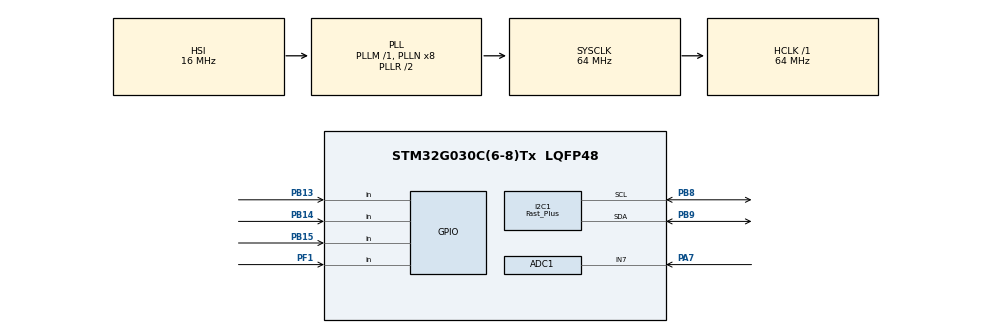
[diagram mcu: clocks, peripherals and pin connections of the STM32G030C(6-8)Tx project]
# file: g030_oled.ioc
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ADC1.Channel-1\#ChannelRegularConversion=ADC_CHANNEL_7
ADC1.NbrOfConversionFlag=1
ADC1.Rank-1\#ChannelRegularConversion=1
ADC1.SamplingTime-1\#ChannelRegularConversion=ADC_SAMPLINGTIME_COMMON_1
ADC1.SamplingTimeCommon1=ADC_SAMPLETIME_39CYCLES_5
ADC1.SelectedChannel=ADC_CHANNEL_7
ADC1.master=1
I2C1.I2C_Speed_Mode=I2C_Fast_Plus
I2C1.Timing=0x00300B29
Mcu.Family=STM32G0
Mcu.Name=STM32G030C(6-8)Tx
Mcu.Package=LQFP48
PA7.Mode=IN7
PA7.Signal=ADC1_IN7
PB13.Signal=GPIO_Input
PB14.Signal=GPIO_Input
PB15.Signal=GPIO_Input
PB8.Mode=I2C
PB8.Signal=I2C1_SCL
PB9.Mode=I2C
PB9.Signal=I2C1_SDA
PF1-OSC_OUT\ (PF1).Signal=GPIO_Input
ProjectManager.HeapSize=0x200
ProjectManager.StackSize=0x400
ProjectManager.TargetToolchain=STM32CubeIDE
RCC.ADCFreq_Value=64000000
RCC.AHBFreq_Value=64000000
RCC.CortexFreq_Value=64000000
RCC.EXTERNAL_CLOCK_VALUE=12288000
RCC.HCLKFreq_Value=64000000
RCC.HSE_VALUE=8000000
RCC.HSI_VALUE=16000000
RCC.LSE_VALUE=32768
RCC.SYSCLKFreq_VALUE=64000000
RCC.SYSCLKSource=RCC_SYSCLKSOURCE_PLLCLK
RCC.VCOOutputFreq_Value=128000000
board=custom

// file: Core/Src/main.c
/* USER CODE BEGIN Header */
/**
  ******************************************************************************
  * @file           : main.c
  * @brief          : Main program body
  ******************************************************************************
  * @attention
  *
  * <h2><center>&copy; Copyright (c) 2023 STMicroelectronics.
  * All rights reserved.</center></h2>
  *
  * This software component is licensed by ST under BSD 3-Clause license,
  * the "License"; You may not use this file except in compliance with the
  * License. You may obtain a copy of the License at:
  *                        opensource.org/licenses/BSD-3-Clause
  *
  ******************************************************************************
  */
/* USER CODE END Header */
#include "main.h"

/* USER CODE BEGIN Includes */
#include <stdbool.h>
#include "math.h"
#include "base.h"
#include "menulist.h"
#include "iconlist.h"
#include "textedit.h"
#include "adcchart.h"
#include "u8g2.h"
#include "u8g2_port.h"

#define CONFIG_PADDING_X 4

/* USER CODE END Includes */

ADC_HandleTypeDef hadc1;

I2C_HandleTypeDef hi2c1;

void SystemClock_Config(void);
static void MX_GPIO_Init(void);
static void MX_I2C1_Init(void);
static void MX_ADC1_Init(void);

/* USER CODE BEGIN 0 */
typedef enum {
    PAGE_ID_NONE = -1,
    //
    PAGE_ID_FIRST = 0,

    PAGE_ID_MAIN_MENULIST = PAGE_ID_FIRST,
    PAGE_ID_PID_MENULIST,
    PAGE_ID_DEVS_MENULIST,
    PAGE_ID_ICON_ICONLIST,

    PAGE_ID_LOGO,
    PAGE_ID_ADC_CHART,
    PAGE_ID_TEXTEDIT,
    PAGE_ID_ABOUT,
    PAGE_ID_EASING_CHART,

    PAGE_ID_LAST,
    //
    FUNC_ID_RETURN = PAGE_ID_LAST + 1,
    FUNC_ID_ANIMATION1,
    FUNC_ID_ANIMATION2,
    FUNC_ID_ANIMATION3,
    FUNC_ID_ANIMATION4,
} page_id_t;

page_t*   pages[PAGE_ID_LAST] = {0};
page_id_t page_selected;  // index of rendering

// 注册
#define PAGE_REGISTER(ID, page) pages[ID] = (page_t*)&page
// 切换
#define PAGE_SWITCH(ID)                 \
    if (pages[page_selected = ID] != 0) \
    pages[page_selected = ID]->bRepaint = true
// 渲染
#define PAGE_RENDER()                                            \
    pages[page_selected]->lpfnHandler(pages[page_selected]);     \
    if (pages[page_selected]->bRepaint) {                        \
        println("repaint");                                      \
        pages[page_selected]->bRepaint = 0;                      \
        pages[page_selected]->lpfnPainter(pages[page_selected]); \
    }

///

void _painter_logo(page_t* p)
{
    _clear();
    _set_color(0);
    _draw_str(CONFIG_PADDING_X, 12, "Hello World");
    _set_color(1);
    _draw_str(CONFIG_PADDING_X, 24, "Hello World");
    _set_color(2);
    _draw_str(CONFIG_PADDING_X, 36, "Hello World");
    _update();
}

void _handler_logo(page_t* p)
{
    switch (key_scan()) {
        case KEY_ID_NONE:
            break;
        default:
            effect_disappear();
            PAGE_SWITCH(PAGE_ID_MAIN_MENULIST);
            break;
    }
}
void _handler_chart(adc_chart_t* p)
{
    println("cus");

    switch (key_scan()) {
        case KEY_ID_NONE:
            break;
        default:
            adcchart_repaint_border(p);
            effect_disappear();
            PAGE_SWITCH(PAGE_ID_MAIN_MENULIST);
            break;
    }
}

void _handler_textedit(texteditor_t* p)
{
    switch (key_scan()) {
        case KEY_ID_NONE: break;
        case KEY_ID_PREV: {
            texteditor_callback_handle_set_prevchar(p);
            break;
        }
        case KEY_ID_NEXT: {
            texteditor_callback_handle_set_nextchar(p);
            break;
        }
        case KEY_ID_OK: {
            if (!texteditor_callback_handle_switch_editmode(p)) {
                effect_disappear();
                PAGE_SWITCH(PAGE_ID_MAIN_MENULIST);
            }
            break;
        }
    }
}

void _painter_about(page_t* p)
{
    _clear();
    _set_color(1);
    _draw_str(2, 12, "MCU : STM32");
    _draw_str(2, 28, "FLASH : 512KB");
    _draw_str(2, 44, "SRAM : 256KB");
    _draw_str(2, 60, "RTC SRAM : 16KB");
    _update();
}

void _handler_about(page_t* p)
{
    switch (key_scan()) {
        case KEY_ID_NONE:
            break;
        default:
            effect_disappear();
            PAGE_SWITCH(PAGE_ID_MAIN_MENULIST);
            break;
    }
}

#define _PI2 1.57
#define _PI  3.14
#define _2PI 6.28

void effect_win10_loading()
{
    uint8_t r   = 16;
    uint8_t cnt = 6;  // number of points

    easing_t e = easing_create(EASING_MODE_NTIMES(2) | EASING_DIR_FORWARD, _easing_calc_Linear, 0, 15, 30);

    easing_start_absolute(&e, 0, 1);  // generate linear time order

    while (!easing_isok(&e)) {
        easing_update(&e);
        _clear();
        for (uint8_t i = 0; i < cnt; ++i) {
            float t = e.nCurrent - i * 0.05;
            if (t < 0) t += 1;
            float rad = -_easing_calc_InOutCubic(t) * _2PI + _PI;  // angle (rad, 3.14rad -> 180°)
            _draw_circle_full_at_screen_center(r * sin(rad), r * cos(rad), 1);
        }
        _update();
    }
}

void effect_rotating_rect()
{
    easing_t e = easing_create(EASING_MODE_NTIMES(2) | EASING_DIR_BACKANDFORTH, _easing_calc_OutQuart, 0, 15, 50);

    easing_start_absolute(&e, 0, 1);  // generate linear time order

    float w, h;

    while (!easing_isok(&e)) {
        easing_update(&e);
        _clear();
        w = h = easing_curpos(&e) * 10,
#if 0
        _set_color(1);
        _draw_rotated_rect(64, 32, w, h, easing_curpos(&e) * _PI2);
        _set_color(2);
        _draw_rotated_rect(64, 32, w, h, (easing_curpos(&e) + 0.5) * _PI2);
#else
        _draw_rotated_rect(64, 32, w, h, easing_curpos(&e) * _PI2);
        _draw_rotated_rect(64, 32, w, h, easing_curpos(&e) * _PI2 * 1.5);
#endif
        _update();
    }
    _set_color(1);
}

const item_menu_t menu_main[] = {
    {PAGE_ID_LOGO, "MainUI"},
    {PAGE_ID_PID_MENULIST, "+PID Editor"},
    {PAGE_ID_ICON_ICONLIST, "-Icon Test"},
    {PAGE_ID_ADC_CHART, "-Chart Test"},
    {PAGE_ID_EASING_CHART, "-Easing Chart"},
    {PAGE_ID_DEVS_MENULIST, "-Device List"},
    {PAGE_ID_TEXTEDIT, "-Text Edit"},
    {PAGE_ID_NONE, "-Play Video"},
    {PAGE_ID_ABOUT, "{ About }"},
};

void _hander_main(menulist_t* p)
{
    switch (key_scan()) {
        case KEY_ID_NONE: break;
        case KEY_ID_PREV: menulist_callback_handler_switch_prev(p); break;
        case KEY_ID_NEXT: menulist_callback_handler_switch_next(p); break;
        case KEY_ID_OK:

            switch (p->pItems[p->nSelectedIndex].ID) {
                case PAGE_ID_LOGO:
                case PAGE_ID_EASING_CHART:
                case PAGE_ID_ABOUT: {
                    effect_disappear();
                    PAGE_SWITCH(p->pItems[p->nSelectedIndex].ID);
                    break;
                }
                case PAGE_ID_ADC_CHART:
                case PAGE_ID_TEXTEDIT: {
                    effect_rotating_rect();
                    PAGE_SWITCH(p->pItems[p->nSelectedIndex].ID);
                    break;
                }
                case PAGE_ID_PID_MENULIST:
                case PAGE_ID_DEVS_MENULIST:
                case PAGE_ID_ICON_ICONLIST: {
                    effect_win10_loading();
                    PAGE_SWITCH(p->pItems[p->nSelectedIndex].ID);
                    break;
                }

                default:
                    break;
            }

            p->bRepaint = true;

            break;
    }
}

enum {
    FUNC_ID_EDIT_KP = FUNC_ID_RETURN + 1,
    FUNC_ID_EDIT_KI,
    FUNC_ID_EDIT_KD,
};

struct range_f {
    char* desc;
    float min;
    float max;
    float cur;
    float step;
} kp = {"Editing Kp", 0.f, 10.f, 1.f, 1.2f},
  ki = {"Editing Ki", -1.2f, 1.2f, 0.f, 0.1f},
  kd = {"Editing Kd", 4.f, 10.f, 4.f, 1.2f};

typedef struct range_f range_f;

const item_menu_t menu_pid[] = {
    {FUNC_ID_EDIT_KP, "-Proportion", &kp},
    {FUNC_ID_EDIT_KI, "-Integral", &ki},
    {FUNC_ID_EDIT_KD, "-Derivative", &kd},
    {FUNC_ID_RETURN, "Return"},
};

void _hander_pid(menulist_t* p)
{
    switch (key_scan()) {
        case KEY_ID_NONE: break;
        case KEY_ID_PREV: menulist_callback_handler_switch_prev(p); break;
        case KEY_ID_NEXT: menulist_callback_handler_switch_next(p); break;
        case KEY_ID_OK:

            switch (p->pItems[p->nSelectedIndex].ID) {
                case FUNC_ID_EDIT_KP:
                case FUNC_ID_EDIT_KD:
                case FUNC_ID_EDIT_KI: {
                    bool bRepaint = true;
                    for (uint16_t i = 0; i < buf_len; ++i)
                        buf_ptr[i] &= (i % 2 == 0 ? 0x55 : 0xAA);
                    _update();
                    range_f* range;
                    while (1) {
                        switch (key_scan()) {
                            case KEY_ID_NONE: break;
                            case KEY_ID_PREV:
                                range = (range_f*)(p->pItems[p->nSelectedIndex].arg);
                                if (range->cur > (range->min + range->step)) {
                                    range->cur -= range->step;
                                } else {
                                    range->cur = range->min;
                                }
                                bRepaint = true;
                                break;
                            case KEY_ID_NEXT:
                                range = (range_f*)(p->pItems[p->nSelectedIndex].arg);
                                if (range->cur < (range->max - range->step)) {
                                    range->cur += range->step;
                                } else {
                                    range->cur = range->max;
                                }
                                bRepaint = true;
                                break;
                            case KEY_ID_OK:
                                p->bRepaint = true;
                                return;
                        }

                        if (bRepaint) {
                            bRepaint = false;

                            _draw_rect(16, 16, 96, 31);
                            _set_color(2);
                            _draw_rect(17, 17, 94, 29);
                            _set_color(1);

                            _fiil_rect(18, 36, 60, 8);

                            range = (range_f*)(p->pItems[p->nSelectedIndex].arg);

                            _draw_rect(20, 38, (range->cur - range->min) / (range->max - range->min) * 56, 4);

                            _draw_str(22, 30, range->desc);

                            _draw_num(81, 44, "%.2f", range->cur);

                            _update();
                        }
                    }
                    break;
                }
                case FUNC_ID_RETURN: {
                    effect_disappear();
                    PAGE_SWITCH(PAGE_ID_MAIN_MENULIST);
                    break;
                }
            }
    }
}

const item_icon_t menu_icon[] = {
    {FUNC_ID_ANIMATION1, "Likes", 36, 35, res_likes},
    {FUNC_ID_RETURN, "Collection", 36, 37, res_collect},
    {FUNC_ID_ANIMATION2, "Slot", 36, 36, res_coin},
    {FUNC_ID_RETURN, "Share", 36, 36, res_share},
};

void _hander_icon(iconlist_t* p)
{
    switch (key_scan()) {
        case KEY_ID_NONE: break;
        case KEY_ID_PREV: iconlist_callback_handler_switch_prev(p); break;
        case KEY_ID_NEXT: iconlist_callback_handler_switch_next(p); break;
        case KEY_ID_OK:
            switch (p->pItems[p->nSelectedIndex].ID) {
                case FUNC_ID_ANIMATION1:
                    iconlist_callback_handler_shake_selected(p);
                    break;
                case FUNC_ID_ANIMATION2:
                    iconlist_callback_handler_updown_selected(p);
                    break;
                case FUNC_ID_RETURN: {
                    effect_disappear();
                    PAGE_SWITCH(PAGE_ID_MAIN_MENULIST);
                    break;
                }
                default: break;
            }
    }
}

enum {
    FUNC_ID_DEV_LED = FUNC_ID_RETURN + 1,
    FUNC_ID_DEV_BUZZER,
};

item_menu_t menu_device[] = {
    {FUNC_ID_DEV_LED, "-Led", 0},
    {FUNC_ID_DEV_BUZZER, "-Buzzer", 1},
    {FUNC_ID_RETURN, "Return"},
};

void _handler_devicelist(menulist_t* p)
{
    switch (key_scan()) {
        case KEY_ID_NONE: break;
        case KEY_ID_PREV: menulist_callback_handler_switch_prev(p); break;
        case KEY_ID_NEXT: menulist_callback_handler_switch_next(p); break;
        case KEY_ID_OK: {
            switch (p->pItems[p->nSelectedIndex].ID) {
                case FUNC_ID_DEV_LED:
                case FUNC_ID_DEV_BUZZER: {
                    // 取反(3个！把值限制为0和1)

                    p->pItems[p->nSelectedIndex].arg = !!!(bool)(p->pItems[p->nSelectedIndex].arg);
                    // repaint
                    p->bRepaint = true;

                    break;
                }
                case FUNC_ID_RETURN: {
                    effect_disappear();
                    PAGE_SWITCH(PAGE_ID_MAIN_MENULIST);
                    break;
                }
            }
            break;
        }
    }
}

void _painter_devicelist(menulist_t* p)
{
    // easing
    menulist_callback_painter_update_easing(p);
    // new frame
    _clear();
    // title

    static uint8_t w_on  = 0;
    static uint8_t w_off = 0;
    if (w_on == 0) w_on = _str_w_("[on]");
    if (w_off == 0) w_off = _str_w_("[off]");

    uint8_t      index    = easing_curpos(&p->yTitleOffset) / p->hLine;
    easing_pos_t y_offset = index * p->hLine - easing_curpos(&p->yTitleOffset);
    while (index < p->nSize && y_offset < p->nHeight) {
        _draw_str(p->xPadding, y_offset + p->yPadding, p->pItems[index].title);
        if (p->pItems[index].ID > FUNC_ID_RETURN) {
            if ((bool)(p->pItems[index].arg)) {
                _draw_str(p->xSlider - p->xPadding * 2 - w_on, y_offset + p->yPadding, "[on]");
            } else {
                _draw_str(p->xSlider - p->xPadding * 2 - w_off, y_offset + p->yPadding, "[off]");
            }
        }
        ++index, y_offset += p->hLine;
    }

    // scroll
    menulist_callback_painter_draw_scroll(p);
    // mask
    menulist_callback_painter_draw_item_mask(p);
    // update screen
    _update();
}

enum {
    FUNC_ID_EASING = FUNC_ID_RETURN + 1,
};

float _easing_calc_Custom(const float t)
{
    if (t < 0.3) return t;
    if (t < 0.6) return t * t;
    return t;
}

static const item_menu_t menu_easing[] = {
    {FUNC_ID_EASING, "- Custom", _easing_calc_Custom},
    {FUNC_ID_EASING, "- Linear  ", _easing_calc_Linear},
    {FUNC_ID_EASING, "- InQuad  ", _easing_calc_InQuad},
    {FUNC_ID_EASING, "- OutQuad", _easing_calc_OutQuad},
    {FUNC_ID_EASING, "- InOutQuad", _easing_calc_InOutQuad},
    {FUNC_ID_EASING, "- InCubic  ", _easing_calc_InCubic},
    {FUNC_ID_EASING, "- OutCubic", _easing_calc_OutCubic},
    {FUNC_ID_EASING, "- InOutCubic", _easing_calc_InOutCubic},
    {FUNC_ID_EASING, "- InQuart  ", _easing_calc_InQuart},
    {FUNC_ID_EASING, "- OutQuart", _easing_calc_OutQuart},
    {FUNC_ID_EASING, "- InOutQuart", _easing_calc_InOutQuart},
    {FUNC_ID_EASING, "- InQuint  ", _easing_calc_InQuint},
    {FUNC_ID_EASING, "- OutQuint", _easing_calc_OutQuint},
    {FUNC_ID_EASING, "- InOutQuint", _easing_calc_InOutQuint},
    {FUNC_ID_EASING, "- InSine  ", _easing_calc_InSine},
    {FUNC_ID_EASING, "- OutSine", _easing_calc_OutSine},
    {FUNC_ID_EASING, "- InOutSine", _easing_calc_InOutSine},
    {FUNC_ID_EASING, "- InExpo  ", _easing_calc_InExpo},
    {FUNC_ID_EASING, "- OutExpo", _easing_calc_OutExpo},
    {FUNC_ID_EASING, "- InOutExpo", _easing_calc_InOutExpo},
    {FUNC_ID_EASING, "- InCirc  ", _easing_calc_InCirc},
    {FUNC_ID_EASING, "- OutCirc", _easing_calc_OutCirc},
    {FUNC_ID_EASING, "- InOutCirc", _easing_calc_InOutCirc},
    {FUNC_ID_EASING, "- InBack  ", _easing_calc_InBack},
    {FUNC_ID_EASING, "- OutBack", _easing_calc_OutBack},
    {FUNC_ID_EASING, "- InOutBack", _easing_calc_InOutBack},
    {FUNC_ID_EASING, "- InElastic  ", _easing_calc_InElastic},
    {FUNC_ID_EASING, "- OutElastic", _easing_calc_OutElastic},
    {FUNC_ID_EASING, "- InOutElastic", _easing_calc_InOutElastic},
    {FUNC_ID_EASING, "- InBounce  ", _easing_calc_InBounce},
    {FUNC_ID_EASING, "- OutBounce", _easing_calc_OutBounce},
    {FUNC_ID_EASING, "- InOutBounce", _easing_calc_InOutBounce},
    {FUNC_ID_RETURN, "Return", 0},
};

void _handler_easing_chart(menulist_t* p)
{
    switch (key_scan()) {
        case KEY_ID_NONE: break;
        case KEY_ID_PREV: menulist_callback_handler_switch_prev(p); break;
        case KEY_ID_NEXT: menulist_callback_handler_switch_next(p); break;
        case KEY_ID_OK: {
            switch (p->pItems[p->nSelectedIndex].ID) {
                case FUNC_ID_EASING: {
                    easing_t e = easing_create(EASING_MODE_DEFAULT, p->pItems[p->nSelectedIndex].arg, 0, 36, 0);

                    easing_start_relative(&e, e.nFrameCount);
                    float xoffset = (CONFIG_SCREEN_WIDTH - e.nStop) / 2, yoffset = (CONFIG_SCREEN_HEIGHT - e.nStop) / 2 + e.nStop;

                    _clear();
                    float x1 = -1, y1 = -1, x2, y2;
                    while (!easing_isok(&e)) {
                        easing_update(&e);
                        x2 = xoffset + e.nFrameIndex;
                        y2 = yoffset - easing_curpos(&e);
                        if (x1 == -1) x1 = x2;
                        if (y1 == -1) y1 = y2;
                        _draw_line(x1, y1, x2, y2);
                        x1 = x2;
                        y1 = y2;
                    }
                    _update();

                    while (key_scan() == KEY_ID_NONE) {}

                    // repaint
                    p->bRepaint = true;

                    break;
                }
                case FUNC_ID_RETURN: {
                    effect_disappear();
                    PAGE_SWITCH(PAGE_ID_MAIN_MENULIST);
                    break;
                }
            }
            break;
        }
    }
}

/* USER CODE END 0 */

int main(void)
{

  /* MCU Configuration--------------------------------------------------------*/

  /* Reset of all peripherals, Initializes the Flash interface and the Systick. */
  HAL_Init();

  /* Configure the system clock */
  SystemClock_Config();

  /* Initialize all configured peripherals */
  MX_GPIO_Init();
  MX_I2C1_Init();
  MX_ADC1_Init();

  /* Infinite loop */
  /* USER CODE BEGIN WHILE */
  u8g2_init();

  page_t page_logo  = page_new(_painter_logo, _handler_logo);
  page_t page_about = page_new(_painter_about, _handler_about);

  PAGE_REGISTER(PAGE_ID_LOGO, page_logo);
  PAGE_REGISTER(PAGE_ID_ABOUT, page_about);

  menulist_t menulist_main   = menulist_initialize(menu_main, ARRAY_SIZE(menu_main), 4, 0, _hander_main);
  menulist_t menulist_pid    = menulist_initialize(menu_pid, ARRAY_SIZE(menu_pid), 4, 0, _hander_pid);
  menulist_t menulist_easing = menulist_initialize(menu_easing, ARRAY_SIZE(menu_easing), 5, 0, _handler_easing_chart);
  menulist_t menulist_devs   = menulist_initialize(menu_device, ARRAY_SIZE(menu_device), 3, _painter_devicelist, _handler_devicelist);
//
  PAGE_REGISTER(PAGE_ID_MAIN_MENULIST, menulist_main);
  PAGE_REGISTER(PAGE_ID_PID_MENULIST, menulist_pid);
  PAGE_REGISTER(PAGE_ID_EASING_CHART, menulist_easing);
  PAGE_REGISTER(PAGE_ID_DEVS_MENULIST, menulist_devs);

  iconlist_t iconlist_icon = iconlist_initialize(menu_icon, ARRAY_SIZE(menu_icon), 0, _hander_icon);

  PAGE_REGISTER(PAGE_ID_ICON_ICONLIST, iconlist_icon);

  adc_chart_t page_adcchart = adcchart_initialize(0, _handler_chart);

  PAGE_REGISTER(PAGE_ID_ADC_CHART, page_adcchart);

  char         strbuf[]      = "AZaz World ";
  texteditor_t page_textedit = textedit_initialize(0, _handler_textedit, strbuf, strlen(strbuf));

  PAGE_REGISTER(PAGE_ID_TEXTEDIT, page_textedit);

  PAGE_SWITCH(PAGE_ID_FIRST);

  while (1) {
      PAGE_RENDER();
      HAL_Delay(25);
    /* USER CODE END WHILE */

  }
}

void SystemClock_Config(void)
{
  RCC_OscInitTypeDef RCC_OscInitStruct = {0};
  RCC_ClkInitTypeDef RCC_ClkInitStruct = {0};
  RCC_PeriphCLKInitTypeDef PeriphClkInit = {0};

  /** Configure the main internal regulator output voltage
  */
  HAL_PWREx_ControlVoltageScaling(PWR_REGULATOR_VOLTAGE_SCALE1);
  /** Initializes the RCC Oscillators according to the specified parameters
  * in the RCC_OscInitTypeDef structure.
  */
  RCC_OscInitStruct.OscillatorType = RCC_OSCILLATORTYPE_HSI;
  RCC_OscInitStruct.HSIState = RCC_HSI_ON;
  RCC_OscInitStruct.HSIDiv = RCC_HSI_DIV1;
  RCC_OscInitStruct.HSICalibrationValue = RCC_HSICALIBRATION_DEFAULT;
  RCC_OscInitStruct.PLL.PLLState = RCC_PLL_ON;
  RCC_OscInitStruct.PLL.PLLSource = RCC_PLLSOURCE_HSI;
  RCC_OscInitStruct.PLL.PLLM = RCC_PLLM_DIV1;
  RCC_OscInitStruct.PLL.PLLN = 8;
  RCC_OscInitStruct.PLL.PLLP = RCC_PLLP_DIV2;
  RCC_OscInitStruct.PLL.PLLR = RCC_PLLR_DIV2;
  if (HAL_RCC_OscConfig(&RCC_OscInitStruct) != HAL_OK)
  {
    Error_Handler();
  }
  /** Initializes the CPU, AHB and APB buses clocks
  */
  RCC_ClkInitStruct.ClockType = RCC_CLOCKTYPE_HCLK|RCC_CLOCKTYPE_SYSCLK
                              |RCC_CLOCKTYPE_PCLK1;
  RCC_ClkInitStruct.SYSCLKSource = RCC_SYSCLKSOURCE_PLLCLK;
  RCC_ClkInitStruct.AHBCLKDivider = RCC_SYSCLK_DIV1;
  RCC_ClkInitStruct.APB1CLKDivider = RCC_HCLK_DIV1;

  if (HAL_RCC_ClockConfig(&RCC_ClkInitStruct, FLASH_LATENCY_2) != HAL_OK)
  {
    Error_Handler();
  }
  /** Initializes the peripherals clocks
  */
  PeriphClkInit.PeriphClockSelection = RCC_PERIPHCLK_I2C1|RCC_PERIPHCLK_ADC;
  PeriphClkInit.I2c1ClockSelection = RCC_I2C1CLKSOURCE_PCLK1;
  PeriphClkInit.AdcClockSelection = RCC_ADCCLKSOURCE_SYSCLK;
  if (HAL_RCCEx_PeriphCLKConfig(&PeriphClkInit) != HAL_OK)
  {
    Error_Handler();
  }
}

static void MX_ADC1_Init(void)
{

  ADC_ChannelConfTypeDef sConfig = {0};

  /** Configure the global features of the ADC (Clock, Resolution, Data Alignment and number of conversion)
  */
  hadc1.Instance = ADC1;
  hadc1.Init.ClockPrescaler = ADC_CLOCK_SYNC_PCLK_DIV2;
  hadc1.Init.Resolution = ADC_RESOLUTION_12B;
  hadc1.Init.DataAlign = ADC_DATAALIGN_RIGHT;
  hadc1.Init.ScanConvMode = ADC_SCAN_DISABLE;
  hadc1.Init.EOCSelection = ADC_EOC_SINGLE_CONV;
  hadc1.Init.LowPowerAutoWait = DISABLE;
  hadc1.Init.LowPowerAutoPowerOff = DISABLE;
  hadc1.Init.ContinuousConvMode = DISABLE;
  hadc1.Init.NbrOfConversion = 1;
  hadc1.Init.DiscontinuousConvMode = DISABLE;
  hadc1.Init.ExternalTrigConv = ADC_SOFTWARE_START;
  hadc1.Init.ExternalTrigConvEdge = ADC_EXTERNALTRIGCONVEDGE_NONE;
  hadc1.Init.DMAContinuousRequests = DISABLE;
  hadc1.Init.Overrun = ADC_OVR_DATA_PRESERVED;
  hadc1.Init.SamplingTimeCommon1 = ADC_SAMPLETIME_39CYCLES_5;
  hadc1.Init.SamplingTimeCommon2 = ADC_SAMPLETIME_1CYCLE_5;
  hadc1.Init.OversamplingMode = DISABLE;
  hadc1.Init.TriggerFrequencyMode = ADC_TRIGGER_FREQ_HIGH;
  if (HAL_ADC_Init(&hadc1) != HAL_OK)
  {
    Error_Handler();
  }
  /** Configure Regular Channel
  */
  sConfig.Channel = ADC_CHANNEL_7;
  sConfig.Rank = ADC_REGULAR_RANK_1;
  sConfig.SamplingTime = ADC_SAMPLINGTIME_COMMON_1;
  if (HAL_ADC_ConfigChannel(&hadc1, &sConfig) != HAL_OK)
  {
    Error_Handler();
  }

}

static void MX_I2C1_Init(void)
{

  hi2c1.Instance = I2C1;
  hi2c1.Init.Timing = 0x00300B29;
  hi2c1.Init.OwnAddress1 = 0;
  hi2c1.Init.AddressingMode = I2C_ADDRESSINGMODE_7BIT;
  hi2c1.Init.DualAddressMode = I2C_DUALADDRESS_DISABLE;
  hi2c1.Init.OwnAddress2 = 0;
  hi2c1.Init.OwnAddress2Masks = I2C_OA2_NOMASK;
  hi2c1.Init.GeneralCallMode = I2C_GENERALCALL_DISABLE;
  hi2c1.Init.NoStretchMode = I2C_NOSTRETCH_DISABLE;
  if (HAL_I2C_Init(&hi2c1) != HAL_OK)
  {
    Error_Handler();
  }
  /** Configure Analogue filter
  */
  if (HAL_I2CEx_ConfigAnalogFilter(&hi2c1, I2C_ANALOGFILTER_ENABLE) != HAL_OK)
  {
    Error_Handler();
  }
  /** Configure Digital filter
  */
  if (HAL_I2CEx_ConfigDigitalFilter(&hi2c1, 0) != HAL_OK)
  {
    Error_Handler();
  }
  /** I2C Fast mode Plus enable
  */
  HAL_I2CEx_EnableFastModePlus(I2C_FASTMODEPLUS_I2C1);

}

static void MX_GPIO_Init(void)
{
  GPIO_InitTypeDef GPIO_InitStruct = {0};

  /* GPIO Ports Clock Enable */
  __HAL_RCC_GPIOF_CLK_ENABLE();
  __HAL_RCC_GPIOA_CLK_ENABLE();
  __HAL_RCC_GPIOB_CLK_ENABLE();

  /*Configure GPIO pin : PF1 */
  GPIO_InitStruct.Pin = GPIO_PIN_1;
  GPIO_InitStruct.Mode = GPIO_MODE_INPUT;
  GPIO_InitStruct.Pull = GPIO_NOPULL;
  HAL_GPIO_Init(GPIOF, &GPIO_InitStruct);

  /*Configure GPIO pins : PB13 PB14 PB15 */
  GPIO_InitStruct.Pin = GPIO_PIN_13|GPIO_PIN_14|GPIO_PIN_15;
  GPIO_InitStruct.Mode = GPIO_MODE_INPUT;
  GPIO_InitStruct.Pull = GPIO_NOPULL;
  HAL_GPIO_Init(GPIOB, &GPIO_InitStruct);

}

void Error_Handler(void)
{
  __disable_irq();
  while (1)
  {
  }
}

/************************ (C) COPYRIGHT STMicroelectronics *****END OF FILE****/
